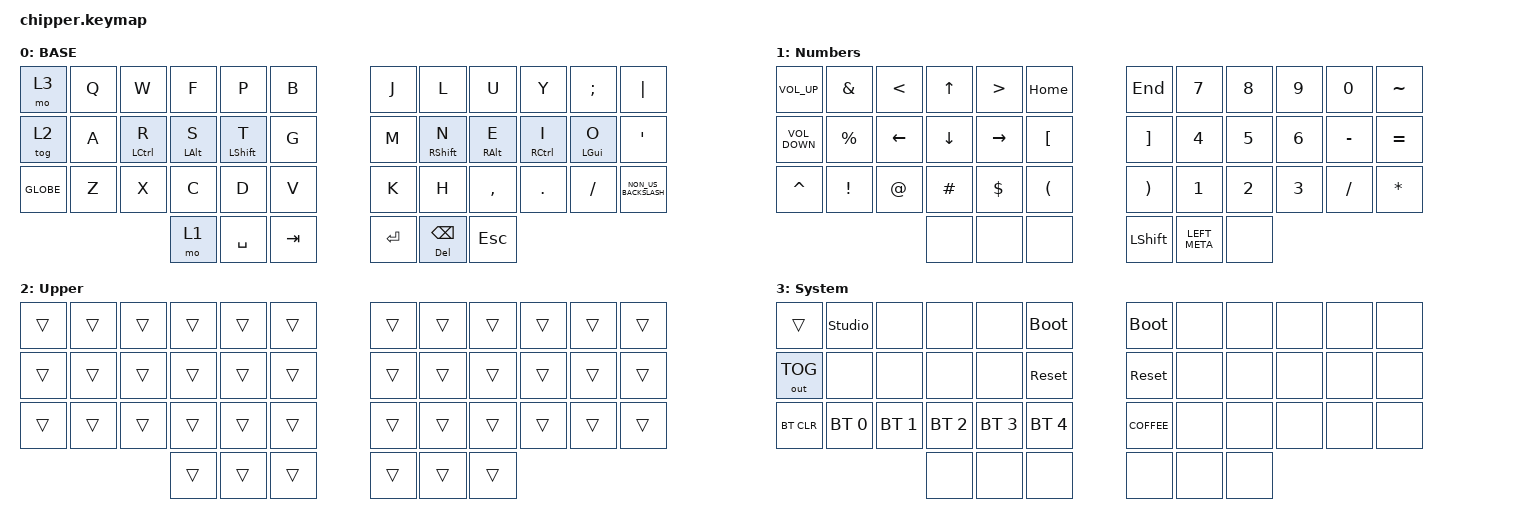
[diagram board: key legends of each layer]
/*
 * Copyright (c) 2020 The ZMK Contributors
 *
 * SPDX-License-Identifier: MIT
 */

#include <behaviors.dtsi>
#include <dt-bindings/zmk/bt.h>
#include <dt-bindings/zmk/keys.h>
#include <dt-bindings/zmk/outputs.h>

#define COMBO_TIMEOUT 60
#define DEFAULT 0
#define LOWER   1
#define RAISE   2
#define DANGER  3

/ {
};

/ {
    combos {
        compatible = "zmk,combos";

        Pasta {
            bindings = <&kp LC(V)>;
            key-positions = <29 28>;
        };

        Copy {
            bindings = <&kp LC(C)>;
            key-positions = <28 27>;
        };

        Cut {
            bindings = <&kp LC(X)>;
            key-positions = <27 26>;
        };

        Rugrat {
            bindings = <&kp LC(Z)>;
            key-positions = <26 25>;
        };
    };
};

&caps_word { continue-list = <UNDERSCORE MINUS BACKSPACE DELETE HOME END LEFT RIGHT>; };

&kscan0 { debounce-period = <20>; };

/ {
    behaviors {
        bh: layer_taps {
            compatible = "zmk,behavior-hold-tap";
            label = "Layer-Tap";
            #binding-cells = <2>;
            tapping_term_ms = <215>;
            flavor = "tap-preferred";
            bindings = <&mo>, <&kp>;
        };

        hm: homerow_mods {
            compatible = "zmk,behavior-hold-tap";
            label = "HOMEROW_MODS";
            #binding-cells = <2>;
            tapping-term-ms = <170>;
            quick_tap_ms = <0>;
            flavor = "tap-preferred";
            bindings = <&kp>, <&kp>;
        };

        sm: shift_mods {
            compatible = "zmk,behavior-hold-tap";
            label = "SHIFT_MODS";
            #binding-cells = <2>;
            tapping-term-ms = <170>;
            quick_tap_ms = <0>;
            flavor = "hold-preferred";
            bindings = <&kp>, <&kp>;
        };
    };
};

/ {
    keymap {
        compatible = "zmk,keymap";

        default_layer {
            // -----------------------------------------------------------------------------------------
            // |  Q  |  W  |  E  |  R  |  T  |   |  Y  |  U   |  I  |  O  |  P  | 
            // |  A  |  S  |  D  |  F  |  G  |   |  H  |  J   |  K  |  L  |  ;  |
            // |  Z  |  X  |  C  |  V  |  B  |   |  N  |  M   |  ,  |  .  |  /  | 
            //             | GUI | LWR | ENT |   | SPC | RSE  | ALT |

            bindings = <
&mo 3      &kp Q  &kp W        &kp F           &kp P             &kp B      &kp J      &kp L              &kp U            &kp Y        &kp SEMI        &kp PIPE
&tog 2     &kp A  &hm LCTRL R  &hm LEFT_ALT S  &hm LEFT_SHIFT T  &kp G      &kp M      &hm RIGHT_SHIFT N  &hm RIGHT_ALT E  &hm RCTRL I  &hm LEFT_GUI O  &kp APOSTROPHE
&kp GLOBE  &kp Z  &kp X        &kp C           &kp D             &kp V      &kp K      &kp H              &kp COMMA        &kp DOT      &kp FSLH        &kp NON_US_BACKSLASH
                               &mo 1           &kp SPACE         &kp TAB    &kp ENTER  &mt DEL BACKSPACE  &kp ESCAPE
            >;

            label = "BASE";
        };

        Lower {
            bindings = <
&kp C_VOLUME_UP    &kp AMPERSAND    &kp LESS_THAN   &kp UP_ARROW    &kp GREATER_THAN  &kp HOME                &kp END                &kp N7         &kp N8        &kp N9        &kp NUMBER_0  &kp TILDE
&kp C_VOLUME_DOWN  &kp PERCENT      &kp LEFT_ARROW  &kp DOWN_ARROW  &kp RIGHT_ARROW   &kp LEFT_BRACKET        &kp RIGHT_BRACKET      &kp NUMBER_4   &kp N5        &kp NUMBER_6  &kp MINUS     &kp EQUAL
&kp CARET          &kp EXCLAMATION  &kp AT_SIGN     &kp HASH        &kp DOLLAR        &kp LEFT_PARENTHESIS    &kp RIGHT_PARENTHESIS  &kp NUMBER_1   &kp NUMBER_2  &kp NUMBER_3  &kp SLASH     &kp ASTERISK
                                                    &none           &none             &none                   &kp LEFT_SHIFT         &kp LEFT_META  &none
            >;

            label = "Numbers";
        };

        Upper {
            bindings = <
&trans  &trans  &trans  &trans  &trans  &trans    &trans  &trans  &trans  &trans  &trans  &trans
&trans  &trans  &trans  &trans  &trans  &trans    &trans  &trans  &trans  &trans  &trans  &trans
&trans  &trans  &trans  &trans  &trans  &trans    &trans  &trans  &trans  &trans  &trans  &trans
                        &trans  &trans  &trans    &trans  &trans  &trans
            >;
        };

        System {
            bindings = <
&trans        &studio_unlock  &none         &none         &none         &bootloader     &bootloader   &none  &none  &none  &none  &none
&out OUT_TOG  &none           &none         &none         &none         &sys_reset      &sys_reset    &none  &none  &none  &none  &none
&bt BT_CLR    &bt BT_SEL 0    &bt BT_SEL 1  &bt BT_SEL 2  &bt BT_SEL 3  &bt BT_SEL 4    &kp K_COFFEE  &none  &none  &none  &none  &none
                                            &none         &none         &none           &none         &none  &none
            >;
        };
    };

    conditional_layers { compatible = "zmk,conditional-layers"; };
};
